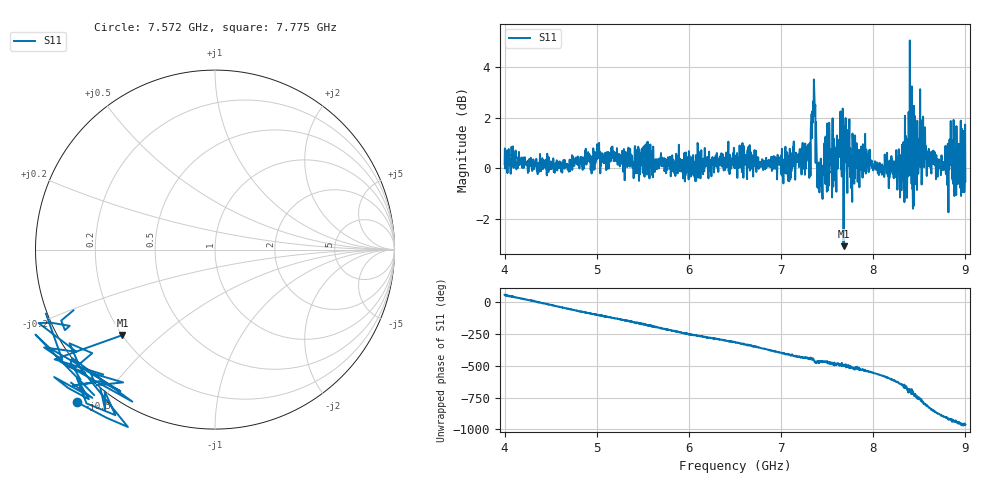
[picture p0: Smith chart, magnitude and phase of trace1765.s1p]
! Created with skrf 1.8.0 (http://scikit-rf.org).
# Hz S RI R 50.0
!freq ReS11 ImS11
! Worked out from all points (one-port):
!   1601 points, 4 GHz to 9 GHz, reference 50 ohm
!   lowest |S11| = -3.1 dB at 7.678 GHz (marker M1), VSWR 5.71, Z = 10.1 - j18.9 ohm
!   |S11| at or under -10 dB: nowhere
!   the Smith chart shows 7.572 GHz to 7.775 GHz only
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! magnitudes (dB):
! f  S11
! 4 GHz  0.2
! 4.625 GHz  -0.2
! 5.25 GHz  0.1
! 5.875 GHz  0.1
! 6.5 GHz  0.1
! 7.125 GHz  0.5
! 7.294 GHz  0.4
! 7.347 GHz  2.5
! 7.366 GHz  2.4
! 7.4 GHz  -0.1
! 7.425 GHz  -0.1
! 7.509 GHz  0.6
! 7.575 GHz  0.9
! 7.65 GHz  0.0
! 7.678 GHz  -3.1
! 7.75 GHz  0.8
! 7.769 GHz  -0.5
! 7.891 GHz  0.5
! 8.316 GHz  0.4
! 8.375 GHz  -0.3
! 8.394 GHz  0.0
! 8.45 GHz  -0.2
! 8.459 GHz  -0.6
! 8.481 GHz  1.0
! 8.522 GHz  1.9
! 8.712 GHz  0.4
! 8.972 GHz  0.5
! 9 GHz  -0.5
